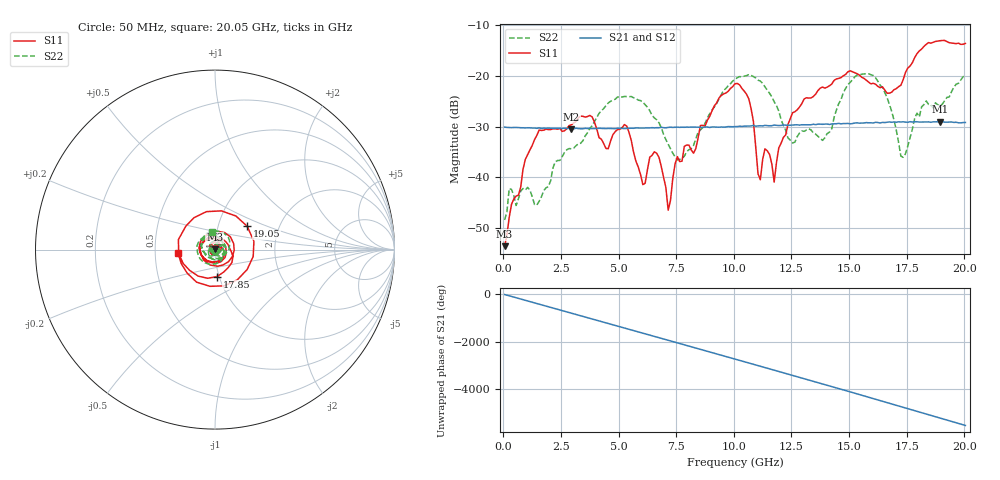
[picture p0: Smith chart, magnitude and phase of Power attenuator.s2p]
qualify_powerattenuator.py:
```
from device import knownDevices
import pylab
import skrf
import numpy

#vna = knownDevices['networkAnalyzer']
#vna.putOnline()
#attenuator = vna.measure()
#attenuator.write_touchstone('Power attenuator.s2p')

attenuator = skrf.Network(file="D:\\User_My_Documents\\Instrument\\My Documents\\EmcTestbench\\Calibration\\Power attenuator.s2p")

pylab.plot(attenuator.f/1e9,-attenuator.s_db[:,1,0],label="measurement")
transferModel = -29.75-0.65*numpy.sin((attenuator.f+2.5e9)/4e9 /(1+attenuator.f/100e9))

pylab.plot(attenuator.f/1e9,-transferModel,label="analytical")
pylab.xticks(range(0,22,2))
pylab.xlim(0,20)
pylab.ylim(28.5,31.5)
pylab.grid()
pylab.xlabel('Frequency (GHz)')
pylab.ylabel('Attenuation (dB)')
pylab.legend()
pylab.show()

#pylab.plot(attenuator.f/1e9,attenuator.s_vswr[:,0,0],label='Input')
#pylab.plot(attenuator.f/1e9,attenuator.s_vswr[:,1,1],label='Output')
#pylab.legend()
#pylab.xticks(range(0,22,2))
#pylab.xlim(0,20)
#pylab.ylim(1,1.5)
#pylab.grid()
#pylab.xlabel('Frequency (GHz)')
#pylab.ylabel('VSWR (:1)')
#pylab.show()
```
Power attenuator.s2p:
!Created with skrf (http://scikit-rf.org).
# GHz S RI R 50.0
!freq	ReS11	ImS11	ReS21	ImS21	ReS12	ImS12	ReS22	ImS22
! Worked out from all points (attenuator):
!   201 points, 50 MHz to 20.05 GHz, reference 50 ohm
!   highest |S21| = -29.04 dB at 18.95 GHz (marker M1); lowest = -30.5 dB at 2.95 GHz (marker M2)
!   lowest |S11| = -53.5 dB at 50 MHz (marker M3), VSWR 1.00, Z = 49.9 + j0.158 ohm
!   |S11| at or under -10 dB: start of sweep to end of sweep
!   |S22| runs from -48.4 to -19.6 dB; largest |S21 - S12| = 0.0013
!   S11 on the Smith chart (normalised r, x): 50 MHz: 1.00, +0.00; 17.85 GHz: 0.98, -0.30; 19.05 GHz: 1.38, +0.38; 20.05 GHz: 0.66, -0.03
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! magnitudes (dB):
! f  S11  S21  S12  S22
! 50 MHz  -53.5  -30.1  -30.1  -48.4
! 1.55 GHz  -30.7  -30.3  -30.4  -44.7
! 2.95 GHz  -29.7  -30.5  -30.4  -34.4
! 7.15 GHz  -46.5  -30.2  -30.2  -33.5
! 10.05 GHz  -21.6  -30.0  -30.1  -20.8
! 11.75 GHz  -40.9  -29.7  -29.8  -25.1
! 13.05 GHz  -24.6  -29.7  -29.7  -31.0
! 17.85 GHz  -16.4  -29.0  -29.2  -28.4
! 18.95 GHz  -13.1  -29.0  -29.1  -25.9
! 19.05 GHz  -13.1  -29.0  -29.1  -25.6
! 20.05 GHz  -13.7  -29.2  -29.3  -19.9
